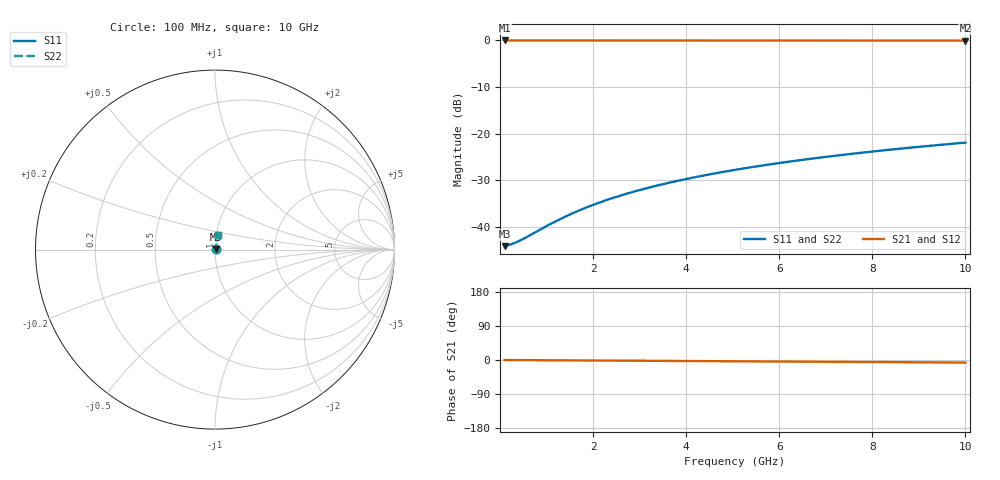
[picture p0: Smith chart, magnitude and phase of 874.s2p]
# Hz S RI R 50.00
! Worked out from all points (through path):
!   100 points, 100 MHz to 10 GHz, reference 50 ohm
!   highest |S21| = -0.05 dB at 100 MHz (marker M1); lowest = -0.1 dB at 10 GHz (marker M2)
!   lowest |S11| = -44.0 dB at 100 MHz (marker M3), VSWR 1.01, Z = 50.6 + j0.0806 ohm
!   |S11| at or under -10 dB: start of sweep to end of sweep
!   |S22| runs from -44.0 to -21.9 dB; largest |S21 - S12| = 0
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1e8  0.00622 0.000796  0.9938 -0.00117  0.9938 -0.00117  0.00622 0.000796
2e8  0.00627 0.00159  0.9937 -0.00234  0.9937 -0.00234  0.00627 0.00159
3e8  0.0063 0.00239  0.9937 -0.00351  0.9937 -0.00351  0.0063 0.00239
4e8  0.00633 0.00318  0.9937 -0.00468  0.9937 -0.00468  0.00633 0.00318
6e8  0.00639 0.00477  0.9936 -0.00703  0.9936 -0.00703  0.00639 0.00477
1e9  0.00651 0.00795  0.9935 -0.0117  0.9935 -0.0117  0.00651 0.00795
1.2e9  0.00657 0.00954  0.9934 -0.014  0.9934 -0.014  0.00657 0.00954
1.5e9  0.00668 0.0119  0.9933 -0.0176  0.9933 -0.0176  0.00668 0.0119
1.8e9  0.0068 0.0143  0.9932 -0.0211  0.9932 -0.0211  0.0068 0.0143
2.1e9  0.00693 0.0167  0.993 -0.0246  0.993 -0.0246  0.00693 0.0167
2.5e9  0.00713 0.0199  0.9928 -0.0293  0.9928 -0.0293  0.00713 0.0199
2.9e9  0.00736 0.023  0.9926 -0.0339  0.9926 -0.0339  0.00736 0.023
3.4e9  0.00768 0.027  0.9922 -0.0398  0.9922 -0.0398  0.00768 0.027
3.8e9  0.00797 0.0302  0.9919 -0.0444  0.9919 -0.0444  0.00797 0.0302
4.2e9  0.00829 0.0333  0.9916 -0.0491  0.9916 -0.0491  0.00829 0.0333
4.6e9  0.00864 0.0365  0.9912 -0.0538  0.9912 -0.0538  0.00864 0.0365
5.1e9  0.00912 0.0404  0.9907 -0.0596  0.9907 -0.0596  0.00912 0.0404
5.9e9  0.00998 0.0467  0.9898 -0.0689  0.9898 -0.0689  0.00998 0.0467
6.7e9  0.011 0.053  0.9887 -0.0782  0.9887 -0.0782  0.011 0.053
7.5e9  0.012 0.0593  0.9875 -0.0875  0.9875 -0.0875  0.012 0.0593
8.4e9  0.0134 0.0663  0.9861 -0.0979  0.9861 -0.0979  0.0134 0.0663
1e10  0.0162 0.0787  0.983 -0.1163  0.983 -0.1163  0.0162 0.0787
